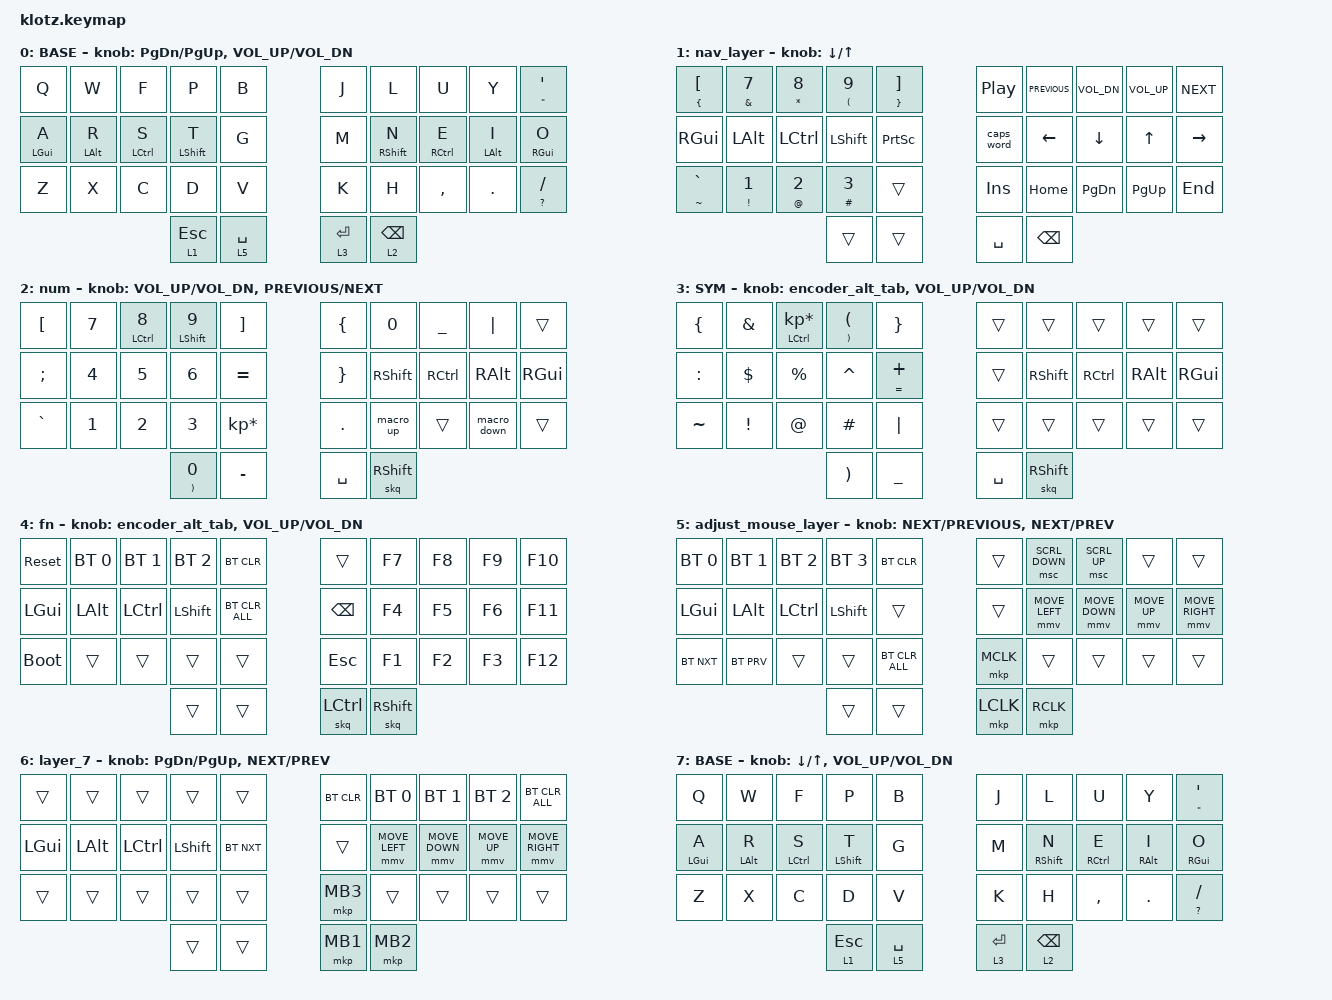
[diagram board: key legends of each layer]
#include <behaviors.dtsi>
#include <dt-bindings/zmk/bt.h>
#include <dt-bindings/zmk/keys.h>
#include <dt-bindings/zmk/pointing.h>

#define BASE 0
#define NAV  1
#define SYM  2
#define ADJ  3
#define JMP  4
#define OSL  5
#define COMBOMS 25

&lt {
    flavor = "tap-preferred";
    tapping-term-ms = <220>;
    hold-trigger-key-positions = <>;
};

/ {
    combos {
        // BASE

        compatible = "zmk,combos";

        combo_esc {
            timeout-ms = <COMBOMS>;
            key-positions = <0 1>;
            bindings = <&kp ESC>;
            layers = <0>;
        };

        compatible = "zmk,combos";

        // GLOBAL

        compatible = "zmk,combos";
        compatible = "zmk,combos";
        compatible = "zmk,combos";

        combo_spc_2 {
            timeout-ms = <COMBOMS>;
            key-positions = <13 14>;
            bindings = <&kp SPACE>;
        };

        compatible = "zmk,combos";

        combo_bspc {
            timeout-ms = <COMBOMS>;
            key-positions = <15 16>;
            bindings = <&kp BSPC>;
        };

        compatible = "zmk,combos";

        combo_del {
            timeout-ms = <COMBOMS>;
            key-positions = <6 7>;
            bindings = <&kp DEL>;
        };

        compatible = "zmk,combos";
        compatible = "zmk,combos";

        combo_ret {
            timeout-ms = <COMBOMS>;
            key-positions = <25 26>;
            bindings = <&kp RET>;
        };

        compatible = "zmk,combos";
        compatible = "zmk,combos";

        combo_ctrlz {
            timeout-ms = <COMBOMS>;
            key-positions = <20 21>;
            bindings = <&macro_ctrlz>;
        };

        compatible = "zmk,combos";

        combo_ctrlshftz {
            timeout-ms = <COMBOMS>;
            key-positions = <20 21 22>;
            bindings = <&macro_ctrlshftz>;
        };

        compatible = "zmk,combos";

        combo_ctrlx {
            timeout-ms = <COMBOMS>;
            key-positions = <21 22>;
            bindings = <&macro_ctrlx>;
        };

        compatible = "zmk,combos";

        combo_ctrlc {
            timeout-ms = <COMBOMS>;
            key-positions = <22 23>;
            bindings = <&macro_ctrlc>;
        };

        compatible = "zmk,combos";

        combo_ctrlv {
            timeout-ms = <COMBOMS>;
            key-positions = <23 24>;
            bindings = <&macro_ctrlv>;
        };

        compatible = "zmk,combos";

        combo_fn {
            timeout-ms = <COMBOMS>;
            key-positions = <30 31>;
            bindings = <&mo 4>;
        };

        tab {
            bindings = <&kp TAB>;
            key-positions = <2 3>;
        };

        bt {
            bindings = <&mo 5>;
            key-positions = <32 33>;
            timeout-ms = <COMBOMS>;
        };

        TO_ARROWS {
            bindings = <&tog 7>;
            key-positions = <1 2 3 0>;
        };

        backspace_auto {
            bindings = <&skq BACKSPACE>;
            key-positions = <5 6>;
            timeout-ms = <COMBOMS>;
        };
    };

    macros {
        macro_esc: macro_esc {
            compatible = "zmk,behavior-macro";
            #binding-cells = <0>;
            bindings = <&to 0 &kp ESC>;
        };

        tabcw: tabcw {
            compatible = "zmk,behavior-macro";
            #binding-cells = <0>;
            bindings = <&macro_tap>, <&kp TAB>;
        };

        tabccw: tabccw {
            compatible = "zmk,behavior-macro";
            #binding-cells = <0>;
            bindings =
                <&macro_press>,
                <&kp LSHFT>,
                <&macro_tap>,
                <&kp TAB>,
                <&macro_release>,
                <&kp LSHFT>;
        };

        macro_ctrlz: macro_ctrlz {
            compatible = "zmk,behavior-macro";
            #binding-cells = <0>;
            bindings =
                <&macro_press>,
                <&kp LEFT_GUI>,
                <&macro_tap>,
                <&kp Z>,
                <&macro_release>,
                <&kp LEFT_GUI>;
        };

        macro_ctrlshftz: macro_ctrlshftz {
            compatible = "zmk,behavior-macro";
            #binding-cells = <0>;
            bindings =
                <&macro_press>,
                <&kp LGUI>,
                <&macro_press>,
                <&kp LSHFT>,
                <&macro_tap>,
                <&kp Z>,
                <&macro_release>,
                <&kp LGUI>,
                <&macro_release>,
                <&kp LSHFT>;
        };

        macro_ctrlx: macro_ctrlx {
            compatible = "zmk,behavior-macro";
            #binding-cells = <0>;
            bindings =
                <&macro_press>,
                <&kp LGUI>,
                <&macro_tap>,
                <&kp X>,
                <&macro_release>,
                <&kp LGUI>;
        };

        macro_ctrlc: macro_ctrlc {
            compatible = "zmk,behavior-macro";
            #binding-cells = <0>;
            bindings =
                <&macro_press>,
                <&kp LGUI>,
                <&macro_tap>,
                <&kp C>,
                <&macro_release>,
                <&kp LGUI>;
        };

        macro_ctrlv: macro_ctrlv {
            compatible = "zmk,behavior-macro";
            #binding-cells = <0>;
            bindings =
                <&macro_press>,
                <&kp LGUI>,
                <&macro_tap>,
                <&kp V>,
                <&macro_release>,
                <&kp LGUI>;
        };

        macro_ctrls: macro_ctrls {
            compatible = "zmk,behavior-macro";
            #binding-cells = <0>;
            bindings =
                <&macro_press>,
                <&kp LGUI>,
                <&macro_tap>,
                <&kp S>,
                <&macro_release>,
                <&kp LGUI>;
        };

        macro_up: macro_up {
            compatible = "zmk,behavior-macro";
            #binding-cells = <0>;
            bindings =
                <&macro_press>,
                <&kp LCTRL>,
                <&macro_tap>,
                <&kp U>,
                <&macro_release>,
                <&kp LCTRL>;
        };

        macro_down: macro_down {
            compatible = "zmk,behavior-macro";
            #binding-cells = <0>;
            bindings =
                <&macro_press>,
                <&kp LCTRL>,
                <&macro_tap>,
                <&kp D>,
                <&macro_release>,
                <&kp LCTRL>;
        };

        os_hk: os_hk {
            compatible = "zmk,behavior-macro-one-param";
            #binding-cells = <1>;
            bindings =
                <&macro_press>,
                <&kp LALT>,
                <&macro_press>,
                <&kp LGUI>,
                <&macro_press>,
                <&kp LSHFT &macro_param_1to1>,
                <&macro_tap>,
                <&kp MACRO_PLACEHOLDER>,
                <&macro_release>,
                <&kp LALT>,
                <&macro_release>,
                <&kp LGUI>,
                <&macro_release>,
                <&kp LSHFT>;
        };

        m_set: m_set {
            compatible = "zmk,behavior-macro-one-param";
            #binding-cells = <1>;
            bindings =
                <&macro_tap>,
                <&kp M>,
                <&macro_press>,
                <&kp LSHFT &macro_param_1to1>,
                <&macro_tap>,
                <&kp MACRO_PLACEHOLDER>,
                <&macro_release>,
                <&kp LSHFT>;
        };

        m_jmp: m_jmp {
            compatible = "zmk,behavior-macro-one-param";
            #binding-cells = <1>;
            bindings =
                <&macro_tap>,
                <&kp GRAVE>,
                <&macro_press>,
                <&kp LSHFT &macro_param_1to1>,
                <&macro_tap>,
                <&kp MACRO_PLACEHOLDER>,
                <&macro_release>,
                <&kp LSHFT>;
        };

        m_paste: m_paste {
            compatible = "zmk,behavior-macro-one-param";
            #binding-cells = <1>;
            bindings =
                <&macro_tap>,
                <&kp DQT &macro_param_1to1>,
                <&macro_tap>,
                <&kp MACRO_PLACEHOLDER>,
                <&macro_tap>,
                <&kp P>;
        };

        m_dkp: m_dkp {
            compatible = "zmk,behavior-macro-two-param";
            #binding-cells = <2>;
            bindings =
                <&macro_param_1to1>,
                <&macro_tap>,
                <&kp MACRO_PLACEHOLDER &macro_param_2to1>,
                <&macro_tap>,
                <&kp MACRO_PLACEHOLDER>;
        };
    };

    behaviors {
        encoder_alt_tab: encoder_alt_tab {
            compatible = "zmk,behavior-sensor-rotate";
            #sensor-binding-cells = <0>;
            bindings = <&tabcw>, <&tabccw>;
        };

        hml: hml {
            compatible = "zmk,behavior-hold-tap";
            #binding-cells = <2>;
            flavor = "tap-preferred";
            bindings = <&kp>, <&kp>;

            tapping-term-ms = <200>;
        };

        ctl: custom_tap_layer {
            compatible = "zmk,behavior-hold-tap";
            #binding-cells = <2>;
            flavor = "tap-preferred";
            bindings = <&mo>, <&kp>;

            tapping-term-ms = <220>;
            quick-tap-ms = <175>;
        };

        htl: hold_toggle_layer {
            compatible = "zmk,behavior-hold-tap";
            #binding-cells = <2>;
            flavor = "balanced";
            bindings = <&mo>, <&tog>;

            tapping-term-ms = <220>;
        };

        csl: custom_sticky_layer {
            compatible = "zmk,behavior-sticky-key";
            #binding-cells = <1>;
            bindings = <&mo>;
            release-after-ms = <2000>;
            quick-release;
            ignore-modifiers;
        };

        skq: sticky_key_quick_release {
            compatible = "zmk,behavior-sticky-key";
            #binding-cells = <1>;
            bindings = <&kp>;
            release-after-ms = <2000>;
            quick-release;
            ignore-modifiers;
        };

        hmr: hmr {
            compatible = "zmk,behavior-hold-tap";
            #binding-cells = <2>;
            flavor = "tap-preferred";
            bindings = <&kp>, <&kp>;

            tapping-term-ms = <200>;
            label = "HMR";
        };
    };

    keymap {
        compatible = "zmk,keymap";

        // ▄▄▄▄▄▄▄▄▄▄▄▄▄▄▄▄▄▄▄▄▄▄▄▄▄▄▄▄▄▄▄▄▄▄▄▄▄▄▄▄▄▄▄▄▄▄▄▄▄▄▄▄▄▄▄▄▄▄▄▄▄▄▄▄▄▄▄▄▄▄▄▄▄▄▄▄▄▄▄▄▄▄▄▄▄▄▄▄▄▄▄▄▄▄▄▄▄▄▄▄▄▄▄▄▄▄▄▄▄▄▄▄▄▄▄▄▄▄▄▄▄▄▄▄▄

        base_layer {
            // ┏━━━━━━━━━━━━━━━━━━━━━━━━━━━━━━━━━━━━━━━┓

            display-name = "BASE";

            // ┗━━━━━━━━━━━━━━━━━━━━━━━━━━━━━━━━━━━━━━━┛

            bindings = <
&kp Q            &kp W            &kp F         &kp P              &kp B        &kp J        &kp L               &kp U         &kp Y            &hmr DOUBLE_QUOTES SINGLE_QUOTE
&hml LEFT_GUI A  &hml LEFT_ALT R  &hml LCTRL S  &hml LEFT_SHIFT T  &kp G        &kp M        &hmr RIGHT_SHIFT N  &hmr RCTRL E  &hmr LEFT_ALT I  &hmr RIGHT_GUI O
&kp Z            &kp X            &kp C         &kp D              &kp V        &kp K        &kp H               &kp COMMA     &kp PERIOD       &hmr QUESTION SLASH
                                                &lt 1 ESCAPE       &lt 5 SPACE  &lt 3 ENTER  &lt 2 BACKSPACE
            >;

            sensor-bindings =
                <&inc_dec_kp PAGE_DOWN PG_UP>,
                <&inc_dec_kp C_VOL_UP C_VOL_DN>;
        };

        nav_layer {
            bindings = <
&hml LEFT_BRACE LEFT_BRACKET  &hml AMPERSAND N7          &hml ASTRK N8          &hml LEFT_PARENTHESIS N9  &hml RIGHT_BRACE RIGHT_BRACKET  &kp C_PLAY_PAUSE  &kp C_PREVIOUS  &kp C_VOL_DN    &kp C_VOLUME_UP  &kp C_NEXT
&kp RGUI                      &kp LALT                   &kp LCTRL              &kp LSHFT                 &kp PRINTSCREEN                 &caps_word        &kp LEFT_ARROW  &kp DOWN_ARROW  &kp UP_ARROW     &kp RIGHT_ARROW
&hml TILDE GRAVE              &hml EXCLAMATION NUMBER_1  &hml AT_SIGN NUMBER_2  &hml HASH NUMBER_3        &trans                          &kp INSERT        &kp HOME        &kp PAGE_DOWN   &kp PG_UP        &kp END
                                                                                &trans                    &trans                          &kp SPACE         &kp BACKSPACE
            >;

            sensor-bindings = <&inc_dec_kp DOWN_ARROW UP_ARROW>;
        };

        num_layer {
            // ┏━━━━━━━━━━━━━━━━━━━━━━━━━━━━━━━━━━━━━━━┓

            display-name = "num";

            // ┗━━━━━━━━━━━━━━━━━━━━━━━━━━━━━━━━━━━━━━━┛

            bindings = <
&kp LBKT       &kp N7  &hml LCTRL N8  &hml LSHFT N9                    &kp RBKT         &kp LBRC   &kp NUMBER_0     &kp UNDER  &kp PIPE       &trans
&kp SEMICOLON  &kp N4  &kp N5         &kp N6                           &kp EQUAL        &kp RBRC   &kp RIGHT_SHIFT  &kp RCTRL  &kp RIGHT_ALT  &kp RIGHT_GUI
&kp GRAVE      &kp N1  &kp N2         &kp N3                           &kp KP_MULTIPLY  &kp DOT    &macro_up        &trans     &macro_down    &trans
                                      &hml RIGHT_PARENTHESIS NUMBER_0  &kp MINUS        &kp SPACE  &skq RSHFT
            >;

            sensor-bindings =
                <&inc_dec_kp C_VOLUME_UP C_VOL_DN>,
                <&inc_dec_kp K_PREVIOUS K_NEXT>;
        };

        sim_layer {
            // ┏━━━━━━━━━━━━━━━━━━━━━━━━━━━━━━━━━━━━━━━┓

            display-name = "SYM";

            // ┗━━━━━━━━━━━━━━━━━━━━━━━━━━━━━━━━━━━━━━━┛

            bindings = <
&kp LEFT_BRACE  &kp AMPERSAND  &hml LCTRL KP_MULTIPLY  &hml RIGHT_PARENTHESIS LEFT_PARENTHESIS  &kp RIGHT_BRACE  &trans     &trans           &trans     &trans         &trans
&kp COLON       &kp DLLR       &kp PRCNT               &kp CARET                                &hml EQUAL PLUS  &trans     &kp RIGHT_SHIFT  &kp RCTRL  &kp RIGHT_ALT  &kp RIGHT_GUI
&kp TILDE       &kp EXCL       &kp AT                  &kp HASH                                 &kp PIPE         &trans     &trans           &trans     &trans         &trans
                                                       &kp RIGHT_PARENTHESIS                    &kp UNDER        &kp SPACE  &skq RSHFT
            >;

            sensor-bindings = <&encoder_alt_tab &inc_dec_kp C_VOL_UP C_VOL_DN>;
        };

        fn_layer {
            // ┏━━━━━━━━━━━━━━━━━━━━━━━━━━━━━━━━━━━━━━━┓

            display-name = "fn";

            // ┗━━━━━━━━━━━━━━━━━━━━━━━━━━━━━━━━━━━━━━━┛

            bindings = <
&sys_reset    &bt BT_SEL 0  &bt BT_SEL 1  &bt BT_SEL 2    &bt BT_CLR      &trans      &kp F7      &kp F8  &kp F9  &kp F10
&kp LEFT_GUI  &kp LEFT_ALT  &kp LCTRL     &kp LEFT_SHIFT  &bt BT_CLR_ALL  &kp BSPC    &kp F4      &kp F5  &kp F6  &kp F11
&bootloader   &trans        &trans        &trans          &trans          &kp ESC     &kp F1      &kp F2  &kp F3  &kp F12
                                          &trans          &trans          &skq LCTRL  &skq RSHFT
            >;

            sensor-bindings = <&encoder_alt_tab &inc_dec_kp C_VOL_UP C_VOL_DN>;
        };

        adjust_mouse_layer {
            bindings = <
&bt BT_SEL 0  &bt BT_SEL 1  &bt BT_SEL 2  &bt BT_SEL 3  &bt BT_CLR      &trans     &msc SCRL_DOWN  &msc SCRL_UP    &trans        &trans
&kp LGUI      &kp LALT      &kp LCTRL     &kp LSHFT     &trans          &trans     &mmv MOVE_LEFT  &mmv MOVE_DOWN  &mmv MOVE_UP  &mmv MOVE_RIGHT
&bt BT_NXT    &bt BT_PRV    &trans        &trans        &bt BT_CLR_ALL  &mkp MCLK  &trans          &trans          &trans        &trans
                                          &trans        &trans          &mkp LCLK  &mkp RCLK
            >;

            sensor-bindings =
                <&inc_dec_kp C_NEXT C_PREVIOUS>,
                <&inc_dec_kp C_NEXT K_PREV>;
        };

        layer_7 {
            bindings = <
&trans    &trans    &trans     &trans     &trans      &bt BT_CLR  &bt BT_SEL 0    &bt BT_SEL 1    &bt BT_SEL 2  &bt BT_CLR_ALL
&kp LGUI  &kp LALT  &kp LCTRL  &kp LSHFT  &bt BT_NXT  &trans      &mmv MOVE_LEFT  &mmv MOVE_DOWN  &mmv MOVE_UP  &mmv MOVE_RIGHT
&trans    &trans    &trans     &trans     &trans      &mkp MB3    &trans          &trans          &trans        &trans
                               &trans     &trans      &mkp MB1    &mkp MB2
            >;

            sensor-bindings =
                <&inc_dec_kp PAGE_DOWN PG_UP>,
                <&inc_dec_kp C_NEXT K_PREV>;
        };

        Base_arrows {
            display-name = "BASE";
            bindings = <
&kp Q            &kp W            &kp F         &kp P              &kp B        &kp J        &kp L               &kp U         &kp Y             &hmr DOUBLE_QUOTES SINGLE_QUOTE
&hml LEFT_GUI A  &hml LEFT_ALT R  &hml LCTRL S  &hml LEFT_SHIFT T  &kp G        &kp M        &hmr RIGHT_SHIFT N  &hmr RCTRL E  &hmr RIGHT_ALT I  &hmr RIGHT_GUI O
&kp Z            &kp X            &kp C         &kp D              &kp V        &kp K        &kp H               &kp COMMA     &kp PERIOD        &hmr QUESTION SLASH
                                                &lt 1 ESCAPE       &lt 5 SPACE  &lt 3 ENTER  &lt 2 BACKSPACE
            >;

            sensor-bindings =
                <&inc_dec_kp DOWN_ARROW UP_ARROW>,
                <&inc_dec_kp C_VOL_UP C_VOL_DN>;
        };
    };
};
